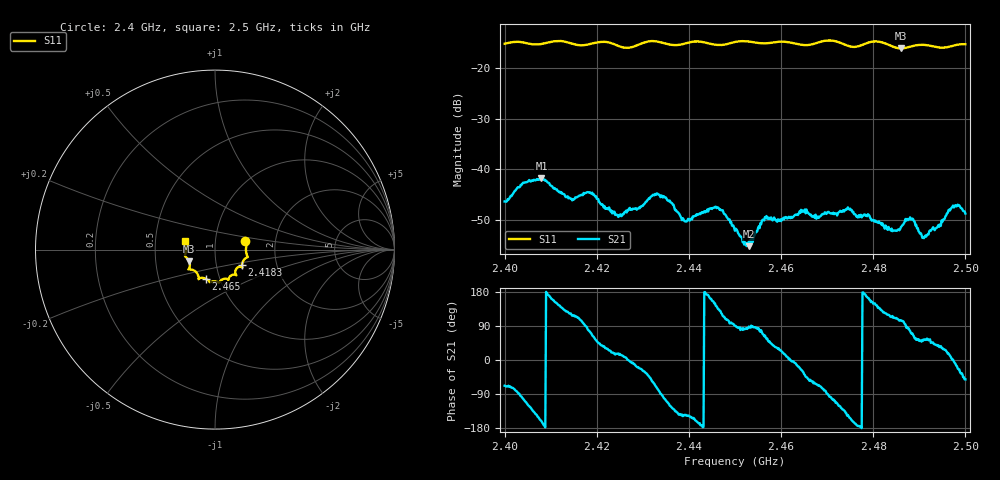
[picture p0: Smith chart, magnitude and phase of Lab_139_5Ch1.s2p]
# Hz S RI R 50
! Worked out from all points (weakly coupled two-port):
!   601 points, 2.4 GHz to 2.5 GHz, reference 50 ohm
!   highest |S21| = -41.70 dB at 2.408 GHz (marker M1); lowest = -55.2 dB at 2.453 GHz (marker M2)
!   lowest |S11| = -16.1 dB at 2.486 GHz (marker M3), VSWR 1.37, Z = 37.2 - j4.98 ohm
!   |S11| at or under -10 dB: start of sweep to end of sweep
!   S12 and S22 are empty: the file has one direction only
!   S11 on the Smith chart (normalised r, x): 2.4 GHz: 1.40, +0.13; 2.4183 GHz: 1.33, -0.24; 2.465 GHz: 0.86, -0.29; 2.5 GHz: 0.71, +0.07
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2.4e9  0.1693 0.0459  0.00182 -0.00446  0 0  0 0
2.404e9  0.1787 0.0275  -0.00154 -0.00723  0 0  0 0
2.408e9  0.1738 -0.016  -0.00781 -0.00258  0 0  0 0
2.414333e9  0.1705 -0.048  -0.00279 0.0043  0 0  0 0
2.416667e9  0.1549 -0.0681  -0.00134 0.00544  0 0  0 0
2.418333e9  0.1499 -0.0872  0.00134 0.00573  0 0  0 0
2.425e9  0.1339 -0.096  0.00342 0.000993  0 0  0 0
2.433333e9  0.1177 -0.141  0.00112 -0.00553  0 0  0 0
2.439e9  0.078 -0.1571  -0.00252 -0.00179  0 0  0 0
2.446e9  0.0529 -0.1623  -0.00325 0.00255  0 0  0 0
2.45e9  0.0254 -0.1808  -1.49e-05 0.00246  0 0  0 0
2.453e9  0.019 -0.1834  5.5e-05 0.00173  0 0  0 0
2.456333e9  -0.00346 -0.177  0.00143 0.00277  0 0  0 0
2.465e9  -0.0524 -0.1618  0.00309 -0.00235  0 0  0 0
2.466667e9  -0.0715 -0.1573  0.00189 -0.00284  0 0  0 0
2.474667e9  -0.0986 -0.1341  -0.00345 -0.00212  0 0  0 0
2.483333e9  -0.1414 -0.0965  -0.00131 0.00235  0 0  0 0
2.486e9  -0.1434 -0.0654  -0.000698 0.00259  0 0  0 0
2.488333e9  -0.1595 -0.0442  0.00114 0.00297  0 0  0 0
2.491167e9  -0.1672 -0.033  0.00127 0.00176  0 0  0 0
2.497333e9  -0.1647 0.0307  0.00438 6.75e-05  0 0  0 0
2.5e9  -0.1671 0.0469  0.00229 -0.00284  0 0  0 0
